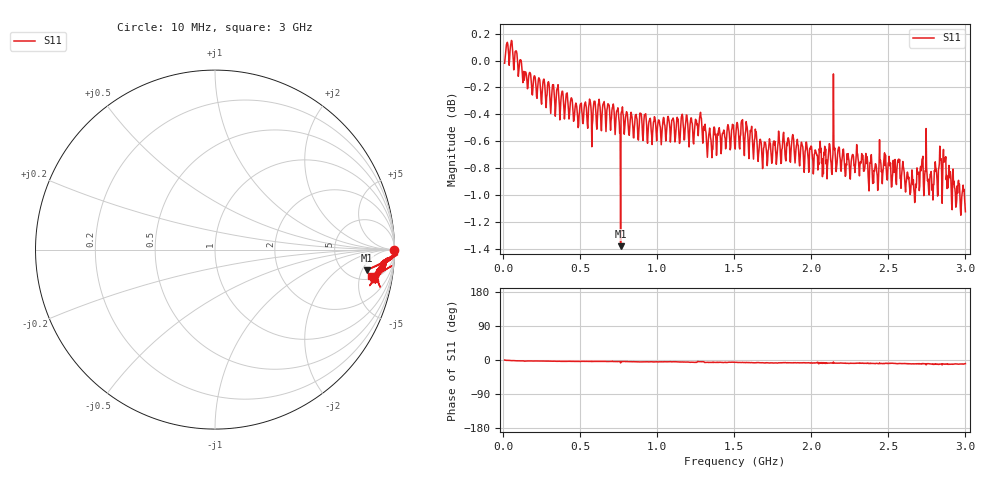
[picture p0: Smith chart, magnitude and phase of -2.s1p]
# HZ S RI R 50
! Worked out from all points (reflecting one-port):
!   1010 points, 10 MHz to 3 GHz, reference 50 ohm
!   lowest |S11| = -1.4 dB at 762.7 MHz (marker M1), VSWR 12.63, Z = 368 - j310 ohm
!   phase of S11 starts at -0 deg and turns -9 deg over the sweep
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1e7  0.9977 -0.00234
4.555996e7  1.009 -0.0231
1.403865e8  0.9855 -0.051
3.863429e8  0.9722 -0.0602
7.004559e8  0.9476 -0.0643
7.597225e8  0.9405 -0.0679
7.626858e8  0.8455 -0.1142
7.863925e8  0.937 -0.0606
8.871457e8  0.9522 -0.0837
1.133102e9  0.9465 -0.0802
1.242745e9  0.9375 -0.1018
1.275342e9  0.9494 -0.0746
1.322755e9  0.9232 -0.1015
1.506482e9  0.9218 -0.0987
1.767255e9  0.9183 -0.1245
1.879861e9  0.9312 -0.1183
2.030991e9  0.9163 -0.1217
2.158414e9  0.9069 -0.1331
2.253241e9  0.8943 -0.1291
2.463637e9  0.8942 -0.154
2.519941e9  0.8871 -0.1358
2.62662e9  0.8931 -0.1616
2.7333e9  0.886 -0.1538
2.762934e9  0.8791 -0.1516
2.834053e9  0.9121 -0.1785
2.869613e9  0.9021 -0.1689
2.905173e9  0.8892 -0.1732
3e9  0.8664 -0.1467
